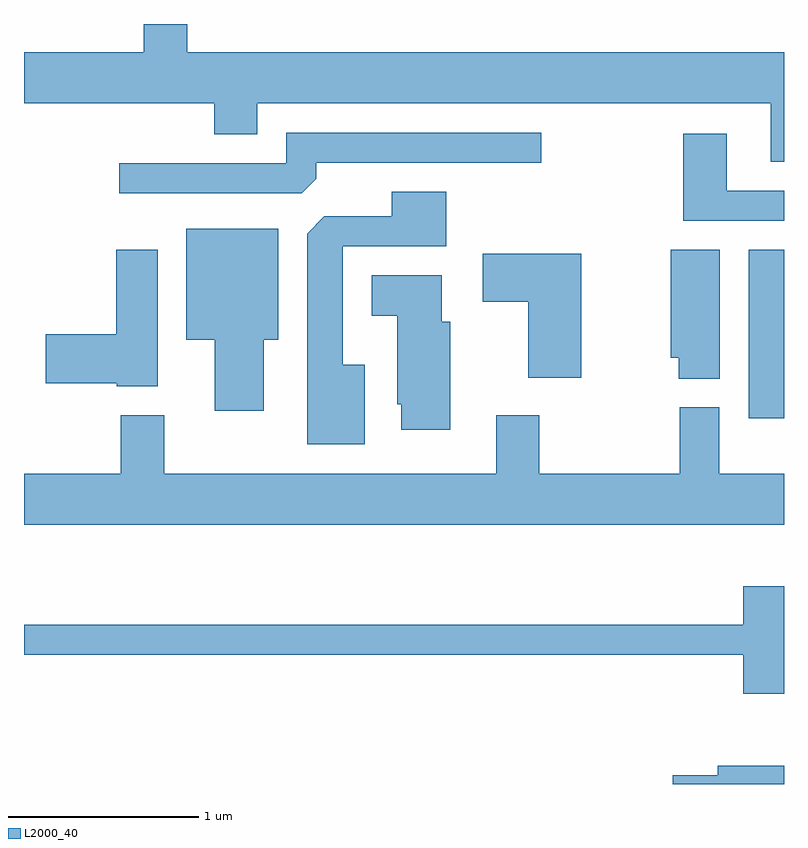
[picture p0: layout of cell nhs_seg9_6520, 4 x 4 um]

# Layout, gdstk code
import gdstk
lib = gdstk.Library(unit=1e-6, precision=1e-09)
def R(c, l, rs):  # rectangles x0, y0, x1, y1
    for r in rs: c.add(gdstk.rectangle(r[:2], r[2:], *l))
def P(c, l, *ps):  # polygons
    for p in ps: c.add(gdstk.Polygon(p, *l))
L2000_40 = (2000, 40)

nhs_seg9_6520 = lib.new_cell('nhs_seg9_6520')
R(nhs_seg9_6520, L2000_40, [(381.426,2012.356,381.611,2013.244)])
P(nhs_seg9_6520, L2000_40, [(381.611,2014.284),(378.469,2014.284),(378.469,2014.432),(378.241,2014.432),(378.241,2014.284),(377.611,2014.284),(377.611,2014.016),(378.611,2014.016),(378.611,2013.851),(378.839,2013.851),(378.839,2014.016),(381.541,2014.016),(381.541,2013.706),(381.611,2013.706)],
  [(379.149,2013.617),(379.149,2013.701),(380.333,2013.701),(380.333,2013.859),(378.991,2013.859),(378.991,2013.699),(378.113,2013.699),(378.113,2013.541),(379.074,2013.541)],
  [(381.611,2013.554),(381.309,2013.554),(381.309,2013.854),(381.081,2013.854),(381.081,2013.396),(381.611,2013.396)],
  [(379.404,2012.639),(379.289,2012.639),(379.289,2013.261),(379.834,2013.261),(379.834,2013.549),(379.546,2013.549),(379.546,2013.419),(379.192,2013.419),(379.101,2013.329),(379.101,2012.221),(379.404,2012.221)],
  [(378.874,2012.771),(378.949,2012.771),(378.949,2013.354),(378.466,2013.354),(378.466,2012.771),(378.616,2012.771),(378.616,2012.396),(378.874,2012.396)],
  [(381.274,2013.244),(381.016,2013.244),(381.016,2012.676),(381.056,2012.676),(381.056,2012.566),(381.274,2012.566)],
  [(378.314,2013.244),(378.096,2013.244),(378.096,2012.799),(377.726,2012.799),(377.726,2012.541),(378.1,2012.541),(378.1,2012.526),(378.314,2012.526)],
  [(380.544,2013.224),(380.026,2013.224),(380.026,2012.971),(380.266,2012.971),(380.266,2012.571),(380.544,2012.571)],
  [(379.854,2012.864),(379.809,2012.864),(379.809,2013.109),(379.441,2013.109),(379.441,2012.896),(379.576,2012.896),(379.576,2012.431),(379.596,2012.431),(379.596,2012.296),(379.854,2012.296)],
  [(381.611,2012.064),(381.269,2012.064),(381.269,2012.414),(381.061,2012.414),(381.061,2012.064),(380.324,2012.064),(380.324,2012.374),(380.096,2012.374),(380.096,2012.064),(378.349,2012.064),(378.349,2012.374),(378.121,2012.374),(378.121,2012.064),(377.611,2012.064),(377.611,2011.796),(381.611,2011.796)],
  [(381.611,2011.474),(381.396,2011.474),(381.396,2011.269),(377.611,2011.269),(377.611,2011.111),(381.396,2011.111),(381.396,2010.906),(381.611,2010.906)],
  [(381.611,2010.529),(381.261,2010.529),(381.261,2010.479),(381.026,2010.479),(381.026,2010.432),(381.611,2010.432)])

lib.write_gds('nhs_seg9_6520.gds')
